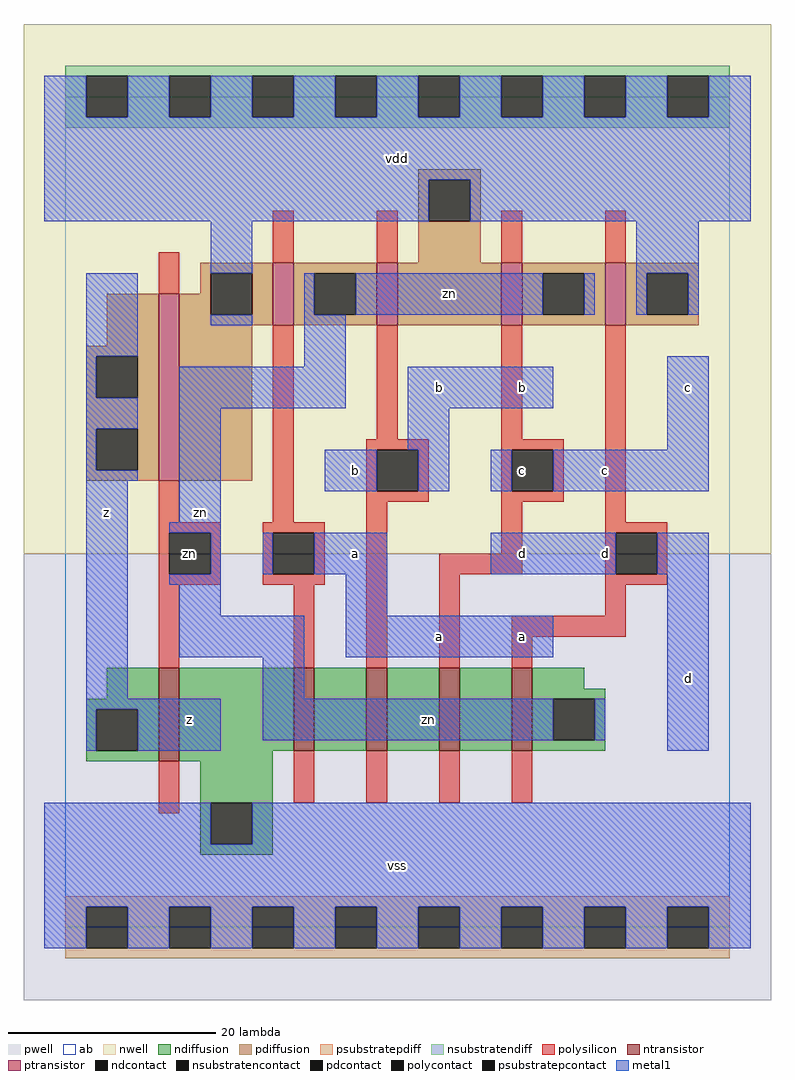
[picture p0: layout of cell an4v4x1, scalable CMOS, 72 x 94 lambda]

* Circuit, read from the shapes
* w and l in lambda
.subckt an4v4x1 a b c d vdd vss z zn
M1 vss zn z vss nfet w=9 l=2
M2 n1 a vss vss nfet w=8 l=2
M3 n2 b n1 vss nfet w=8 l=2
M4 n3 c n2 vss nfet w=8 l=2
M5 zn d n3 vss nfet w=8 l=2
M6 vdd zn z vdd pfet w=18 l=2
M7 zn a vdd vdd pfet w=6 l=2
M8 vdd b zn vdd pfet w=6 l=2
M9 zn c vdd vdd pfet w=6 l=2
M10 vdd d zn vdd pfet w=6 l=2
.ends

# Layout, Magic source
magic
tech scmos
<< ab >>
rect 0 0 64 80
<< pwell >>
rect -4 -7 68 36
<< nwell >>
rect -4 36 68 87
<< polysilicon >>
rect 9 61 11 65
rect 20 64 22 69
rect 30 64 32 69
rect 42 64 44 69
rect 52 64 54 69
rect 9 39 11 43
rect 20 39 22 58
rect 30 47 32 58
rect 42 47 44 58
rect 29 46 35 47
rect 29 42 30 46
rect 34 42 35 46
rect 29 41 35 42
rect 42 46 48 47
rect 42 42 43 46
rect 47 42 48 46
rect 42 41 48 42
rect 9 38 15 39
rect 9 34 10 38
rect 14 34 15 38
rect 9 33 15 34
rect 19 38 25 39
rect 19 34 20 38
rect 24 34 25 38
rect 19 33 25 34
rect 9 25 11 33
rect 22 25 24 33
rect 29 25 31 41
rect 42 36 44 41
rect 36 34 44 36
rect 52 39 54 58
rect 52 38 58 39
rect 52 34 53 38
rect 57 34 58 38
rect 36 25 38 34
rect 52 33 58 34
rect 52 30 54 33
rect 43 28 54 30
rect 43 25 45 28
rect 9 11 11 16
rect 22 12 24 17
rect 29 12 31 17
rect 36 12 38 17
rect 43 12 45 17
<< ndiffusion >>
rect 4 22 9 25
rect 2 21 9 22
rect 2 17 3 21
rect 7 17 9 21
rect 2 16 9 17
rect 11 17 22 25
rect 24 17 29 25
rect 31 17 36 25
rect 38 17 43 25
rect 45 23 50 25
rect 45 22 52 23
rect 45 18 47 22
rect 51 18 52 22
rect 45 17 52 18
rect 11 16 20 17
rect 13 12 20 16
rect 13 8 14 12
rect 18 8 20 12
rect 13 7 20 8
<< pdiffusion >>
rect 34 72 40 73
rect 34 68 35 72
rect 39 68 40 72
rect 34 64 40 68
rect 13 63 20 64
rect 13 61 14 63
rect 4 56 9 61
rect 2 55 9 56
rect 2 51 3 55
rect 7 51 9 55
rect 2 48 9 51
rect 2 44 3 48
rect 7 44 9 48
rect 2 43 9 44
rect 11 59 14 61
rect 18 59 20 63
rect 11 58 20 59
rect 22 63 30 64
rect 22 59 24 63
rect 28 59 30 63
rect 22 58 30 59
rect 32 58 42 64
rect 44 63 52 64
rect 44 59 46 63
rect 50 59 52 63
rect 44 58 52 59
rect 54 63 61 64
rect 54 59 56 63
rect 60 59 61 63
rect 54 58 61 59
rect 11 43 18 58
<< metal1 >>
rect -2 78 2 82
rect 6 78 10 82
rect 14 78 18 82
rect 22 78 26 82
rect 30 78 34 82
rect 38 78 42 82
rect 46 78 50 82
rect 54 78 58 82
rect 62 78 66 82
rect -2 72 66 78
rect -2 68 35 72
rect 39 68 66 72
rect 14 63 18 68
rect 55 63 61 68
rect 2 55 7 63
rect 14 58 18 59
rect 23 59 24 63
rect 28 59 46 63
rect 50 59 51 63
rect 55 59 56 63
rect 60 59 61 63
rect 2 51 3 55
rect 23 54 27 59
rect 2 48 7 51
rect 2 44 3 48
rect 2 43 7 44
rect 11 50 27 54
rect 33 50 47 54
rect 2 22 6 43
rect 11 39 15 50
rect 33 46 37 50
rect 58 46 62 55
rect 25 42 30 46
rect 34 42 37 46
rect 41 42 43 46
rect 47 42 62 46
rect 10 38 15 39
rect 14 34 15 38
rect 19 34 20 38
rect 24 34 31 38
rect 41 34 53 38
rect 57 34 62 38
rect 10 33 15 34
rect 11 30 15 33
rect 27 30 31 34
rect 11 26 23 30
rect 27 26 47 30
rect 19 22 23 26
rect 2 21 15 22
rect 2 17 3 21
rect 7 17 15 21
rect 19 18 47 22
rect 51 18 52 22
rect 58 17 62 34
rect -2 8 14 12
rect 18 8 66 12
rect -2 2 66 8
rect -2 -2 2 2
rect 6 -2 10 2
rect 14 -2 18 2
rect 22 -2 26 2
rect 30 -2 34 2
rect 38 -2 42 2
rect 46 -2 50 2
rect 54 -2 58 2
rect 62 -2 66 2
<< ntransistor >>
rect 9 16 11 25
rect 22 17 24 25
rect 29 17 31 25
rect 36 17 38 25
rect 43 17 45 25
<< ptransistor >>
rect 9 43 11 61
rect 20 58 22 64
rect 30 58 32 64
rect 42 58 44 64
rect 52 58 54 64
<< polycontact >>
rect 30 42 34 46
rect 43 42 47 46
rect 10 34 14 38
rect 20 34 24 38
rect 53 34 57 38
<< ndcontact >>
rect 3 17 7 21
rect 47 18 51 22
rect 14 8 18 12
<< pdcontact >>
rect 35 68 39 72
rect 3 51 7 55
rect 3 44 7 48
rect 14 59 18 63
rect 24 59 28 63
rect 46 59 50 63
rect 56 59 60 63
<< psubstratepcontact >>
rect 2 -2 6 2
rect 10 -2 14 2
rect 18 -2 22 2
rect 26 -2 30 2
rect 34 -2 38 2
rect 42 -2 46 2
rect 50 -2 54 2
rect 58 -2 62 2
<< nsubstratencontact >>
rect 2 78 6 82
rect 10 78 14 82
rect 18 78 22 82
rect 26 78 30 82
rect 34 78 38 82
rect 42 78 46 82
rect 50 78 54 82
rect 58 78 62 82
<< psubstratepdiff >>
rect 0 2 64 3
rect 0 -2 2 2
rect 6 -2 10 2
rect 14 -2 18 2
rect 22 -2 26 2
rect 30 -2 34 2
rect 38 -2 42 2
rect 46 -2 50 2
rect 54 -2 58 2
rect 62 -2 64 2
rect 0 -3 64 -2
<< nsubstratendiff >>
rect 0 82 64 83
rect 0 78 2 82
rect 6 78 10 82
rect 14 78 18 82
rect 22 78 26 82
rect 30 78 34 82
rect 38 78 42 82
rect 46 78 50 82
rect 54 78 58 82
rect 62 78 64 82
rect 0 77 64 78
<< labels >>
rlabel polycontact 12 36 12 36 6 zn
rlabel metal1 4 40 4 40 6 z
rlabel metal1 12 20 12 20 6 z
rlabel metal1 13 40 13 40 6 zn
rlabel metal1 32 6 32 6 6 vss
rlabel metal1 36 28 36 28 6 a
rlabel metal1 28 36 28 36 6 a
rlabel metal1 28 44 28 44 6 b
rlabel metal1 36 52 36 52 6 b
rlabel metal1 32 74 32 74 6 vdd
rlabel metal1 35 20 35 20 6 zn
rlabel metal1 44 28 44 28 6 a
rlabel metal1 44 36 44 36 6 d
rlabel polycontact 44 44 44 44 6 c
rlabel metal1 44 52 44 52 6 b
rlabel metal1 37 61 37 61 6 zn
rlabel metal1 60 24 60 24 6 d
rlabel metal1 52 36 52 36 6 d
rlabel metal1 52 44 52 44 6 c
rlabel metal1 60 52 60 52 6 c
<< end >>
